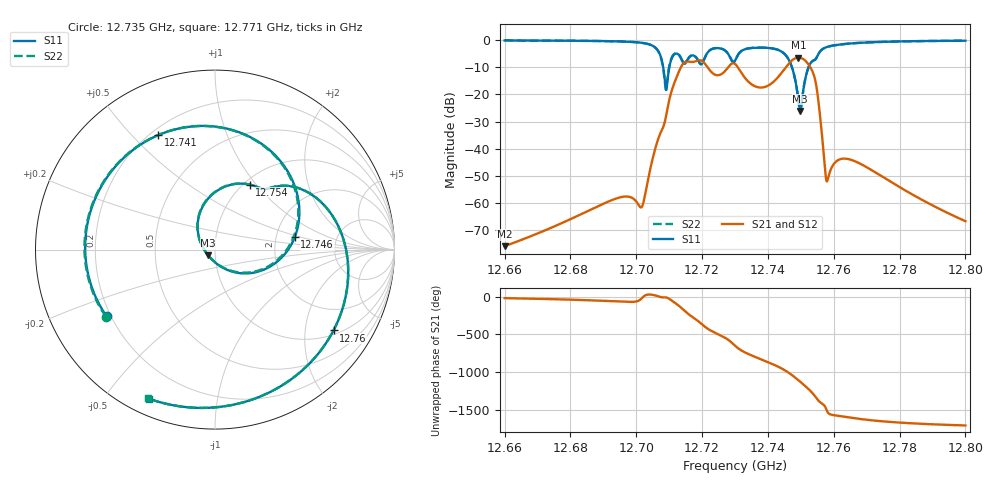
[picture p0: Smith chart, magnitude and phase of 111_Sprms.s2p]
! TOUCHSTONE file generated by CST MICROWAVE STUDIO
! Date and time: Wed Jul 31 16:22:32 2024
! Project name: WaveGuide_BPF-Ver4.1_U-shape_Ku_T3_C4_CWA_2.cst
! Parameters = {cavity_h=16; cavity_l0=10; cavity_l1=15.1668; cavity_l2=16.823; cavity_l3=17.117; cavity_l4=17.2356; cavity_l5=17.1433; cavity_l6=17.5782; cavity_r=2.5; cavity_screw_l=0.5; cavity_screw_r=1.5; cavity_w=8; iris_h00=0; iris_h01=8.8244; iris_h112=0; iris_h12=5.5912; iris_h211=3.6611; ir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
! Header version: 2018
! Port assignment regex: !\s*Touchstone port\s*([0-9]+)\s*=\s*(CST MWS port|CST DS port)\s*([0-9]+|Zmin|Zmax)\s*\(\"(.*)\"\)(\s*mode\s*([0-9]+))?.*
! Touchstone port assignment:
! Touchstone port 1 = CST MWS port 1 ("")
! Touchstone port 2 = CST MWS port 2 ("")
# GHz S RI R 50
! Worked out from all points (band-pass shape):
!   5001 points, 12.66 GHz to 12.8 GHz, reference 50 ohm
!   highest |S21| = -6.44 dB at 12.749 GHz (marker M1); lowest = -75.8 dB at 12.66 GHz (marker M2)
!   |S21| within 3 dB of the highest: 12.71381 GHz to 12.72132 GHz (7.509 MHz wide, 0.059 % of centre); 12.7458 GHz to 12.7526 GHz (6.793 MHz wide, 0.0533 % of centre) (the widest 2 of 3)
!   lowest |S11| = -26.0 dB at 12.75 GHz (marker M3), VSWR 1.11, Z = 46.2 - j3 ohm
!   |S11| at or under -10 dB: 12.70819 GHz to 12.71004 GHz (1.855 MHz wide, 0.0146 % of centre); 12.7473 GHz to 12.75235 GHz (5.047 MHz wide, 0.0396 % of centre)
!   |S22| runs from -26.1 to -0.1 dB; largest |S21 - S12| = 1e-09
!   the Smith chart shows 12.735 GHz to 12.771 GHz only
!   S11 on the Smith chart (normalised r, x): 12.735 GHz: 0.18, -0.27; 12.741 GHz: 0.23, +0.60; 12.746 GHz: 2.54, +0.44; 12.754 GHz: 1.06, +0.93; 12.76 GHz: 1.13, -2.83; 12.771 GHz: 0.07, -0.65
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12.66  0.2263 0.9582  0.000155 -4.68e-05  0.000155 -4.68e-05  0.2229 0.9589
12.68335  0.5786 0.7785  0.000476 -0.000417  0.000476 -0.000417  0.5768 0.7798
12.70158  0.8884 0.0898  0.000781 -0.000317  0.000781 -0.000317  0.8878 0.0871
12.70668  0.4462 -0.444  0.0152 0.00215  0.0152 0.00215  0.4291 -0.4463
12.70894  -0.1181 -0.0558  0.037 -0.00399  0.037 -0.00399  -0.1228 -0.0252
12.71051  0.1746 0.3786  0.079 -0.0675  0.079 -0.0675  0.1928 0.3897
12.71446  0.3674 0.0415  -0.3804 -0.0251  -0.3804 -0.0251  0.3802 0.041
12.71958  0.3559 -0.031  0.4182 0.0732  0.4182 0.0732  0.366 -0.0369
12.72698  0.1663 -0.6206  -0.2692 0.0166  -0.2692 0.0166  0.1584 -0.626
12.73  0.0452 -0.4151  0.1209 0.3438  0.1209 0.3438  0.0377 -0.4235
12.73459  -0.6041 -0.3713  0.1031 -0.1235  0.1031 -0.1235  -0.6078 -0.3732
12.74064  -0.3154 0.6379  -0.1431 -0.0528  -0.1431 -0.0528  -0.3303 0.6328
12.74621  0.4439 0.0684  0.102 0.3472  0.102 0.3472  0.4415 0.0795
12.74929  0.00641 -0.0764  0.4144 -0.2354  0.4144 -0.2354  0.00591 -0.0745
12.7498  -0.0381 -0.0324  0.3168 -0.3515  0.3168 -0.3515  -0.0391 -0.0307
12.75335  0.1671 0.3664  -0.2751 0.0531  -0.2751 0.0531  0.1646 0.3671
12.75352  0.1933 0.3621  -0.252 0.0871  -0.252 0.0871  0.1907 0.3629
12.75772  0.7371 -0.0414  0.00158 -0.00216  0.00158 -0.00216  0.7364 -0.0389
12.76007  0.6604 -0.4506  -0.00371 -0.0038  -0.00371 -0.0038  0.66 -0.4503
12.7708  -0.3688 -0.8304  -0.00408 0.00139  -0.00408 0.00139  -0.3716 -0.8294
12.77668  -0.6892 -0.6314  -0.00194 0.00176  -0.00194 0.00176  -0.6909 -0.6299
12.8  -0.9712 0.0769  5.85e-06 0.000468  5.85e-06 0.000468  -0.9714 0.076
